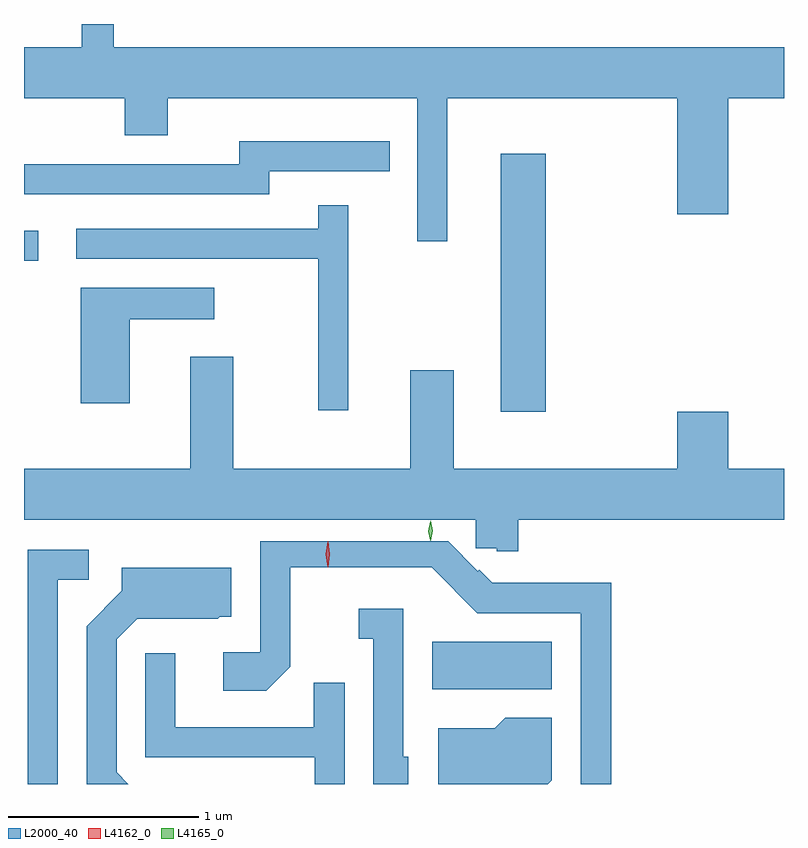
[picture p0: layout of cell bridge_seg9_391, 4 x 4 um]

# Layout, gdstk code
import gdstk
lib = gdstk.Library(unit=1e-6, precision=1e-09)
def R(c, l, rs):  # rectangles x0, y0, x1, y1
    for r in rs: c.add(gdstk.rectangle(r[:2], r[2:], *l))
def P(c, l, *ps):  # polygons
    for p in ps: c.add(gdstk.Polygon(p, *l))
L2000_40 = (2000, 40)
L4162_0 = (4162, 0)
L4165_0 = (4165, 0)

bridge_seg9_391 = lib.new_cell('bridge_seg9_391')
R(bridge_seg9_391, L2000_40, [(653.346,2022.006,653.974,2022.254), (653.706,2023.466,653.944,2024.824), (651.197,2024.261,651.273,2024.419)])
P(bridge_seg9_391, L2000_40, [(653.424,2025.116),(654.636,2025.116),(654.636,2024.506),(654.904,2024.506),(654.904,2025.116),(655.197,2025.116),(655.197,2025.384),(651.669,2025.384),(651.669,2025.506),(651.501,2025.506),(651.501,2025.384),(651.197,2025.384),(651.197,2025.116),(651.726,2025.116),(651.726,2024.921),(651.954,2024.921),(651.954,2025.116),(653.266,2025.116),(653.266,2024.363),(653.424,2024.363)],
  [(652.489,2024.731),(653.123,2024.731),(653.123,2024.889),(652.331,2024.889),(652.331,2024.769),(651.197,2024.769),(651.197,2024.611),(652.489,2024.611)],
  [(652.904,2024.553),(652.746,2024.553),(652.746,2024.429),(651.473,2024.429),(651.473,2024.271),(652.746,2024.271),(652.746,2023.473),(652.904,2023.473)],
  [(651.754,2023.951),(652.198,2023.951),(652.198,2024.119),(651.496,2024.119),(651.496,2023.511),(651.754,2023.511)],
  [(653.799,2022.896),(655.197,2022.896),(655.197,2023.164),(654.904,2023.164),(654.904,2023.464),(654.636,2023.464),(654.636,2023.164),(653.459,2023.164),(653.459,2023.684),(653.231,2023.684),(653.231,2023.164),(652.299,2023.164),(652.299,2023.754),(652.071,2023.754),(652.071,2023.164),(651.197,2023.164),(651.197,2022.896),(653.575,2022.896),(653.575,2022.748),(653.685,2022.748),(653.685,2022.731),(653.799,2022.731)],
  [(654.289,2022.564),(653.662,2022.564),(653.593,2022.633),(653.586,2022.626),(653.429,2022.783),(652.441,2022.783),(652.441,2022.199),(652.246,2022.199),(652.246,2021.996),(652.472,2021.996),(652.599,2022.124),(652.599,2022.646),(653.342,2022.646),(653.582,2022.406),(654.126,2022.406),(654.126,2021.506),(654.289,2021.506)],
  [(651.374,2022.581),(651.538,2022.581),(651.538,2022.739),(651.216,2022.739),(651.216,2021.506),(651.374,2021.506)],
  [(651.684,2021.567),(651.684,2022.269),(651.792,2022.376),(652.216,2022.376),(652.226,2022.386),(652.289,2022.386),(652.289,2022.644),(651.711,2022.644),(651.711,2022.522),(651.526,2022.337),(651.526,2021.506),(651.745,2021.506)],
  [(653.219,2021.649),(653.194,2021.649),(653.194,2022.429),(652.958,2022.429),(652.958,2022.271),(653.036,2022.271),(653.036,2021.506),(653.219,2021.506)],
  [(652.884,2022.038),(652.721,2022.038),(652.721,2021.804),(651.994,2021.804),(651.994,2022.193),(651.836,2022.193),(651.836,2021.646),(652.726,2021.646),(652.726,2021.506),(652.884,2021.506)],
  [(653.974,2021.526),(653.974,2021.854),(653.729,2021.854),(653.674,2021.799),(653.376,2021.799),(653.376,2021.506),(653.954,2021.506)])
P(bridge_seg9_391, L4162_0, [(652.796,2022.651),(652.796,2022.651),(652.786,2022.715),(652.796,2022.78),(652.796,2022.78),(652.797,2022.78),(652.806,2022.715),(652.797,2022.651)],
  [(652.796,2022.647),(652.796,2022.648),(652.786,2022.715),(652.796,2022.783),(652.796,2022.784),(652.797,2022.783),(652.806,2022.715),(652.797,2022.648)])
P(bridge_seg9_391, L4165_0, [(653.337,2022.786),(653.328,2022.838),(653.337,2022.891),(653.337,2022.891),(653.338,2022.891),(653.348,2022.839),(653.338,2022.786),(653.338,2022.786)],
  [(653.335,2022.788),(653.335,2022.789),(653.325,2022.837),(653.334,2022.886),(653.335,2022.887),(653.336,2022.886),(653.345,2022.838),(653.336,2022.789)])

lib.write_gds('bridge_seg9_391.gds')
